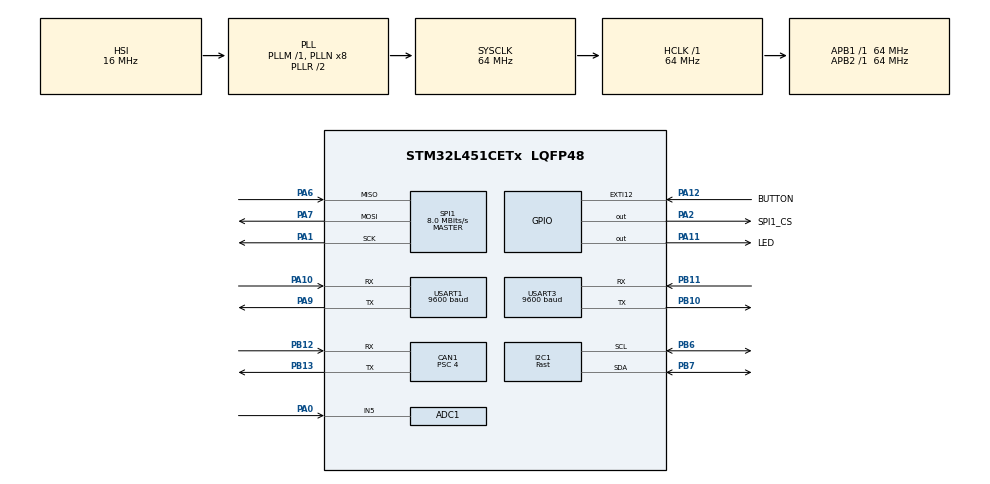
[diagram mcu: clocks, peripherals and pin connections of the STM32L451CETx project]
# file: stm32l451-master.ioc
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ADC1.Channel-0\#ChannelRegularConversion=ADC_CHANNEL_5
ADC1.ContinuousConvMode=ENABLE
ADC1.NbrOfConversionFlag=1
ADC1.OffsetNumber-0\#ChannelRegularConversion=ADC_OFFSET_NONE
ADC1.Rank-0\#ChannelRegularConversion=1
ADC1.SamplingTime-0\#ChannelRegularConversion=ADC_SAMPLETIME_2CYCLES_5
ADC1.master=1
CAN1.ABOM=ENABLE
CAN1.BS1=CAN_BS1_16TQ
CAN1.BS2=CAN_BS2_3TQ
CAN1.CalculateBaudRate=800000
CAN1.CalculateTimeBit=1250
CAN1.CalculateTimeQuantum=62.5
CAN1.NART=ENABLE
CAN1.Prescaler=4
CAN1.TXFP=ENABLE
FREERTOS.Tasks01=periodicTask,24,2048,StartPeriodicTask,Default,NULL,Static,periodicTaskBuffer,periodicTaskControlBlock
I2C1.I2C_Speed_Mode=I2C_Fast
I2C1.Timing=0x00C12166
IWDG.Prescaler=IWDG_PRESCALER_256
Mcu.Family=STM32L4
Mcu.Name=STM32L451CETx
Mcu.Package=LQFP48
NVIC.ADC1_IRQn=true\:5\:0\:false\:false\:true\:true\:true\:true\:true
NVIC.CAN1_RX0_IRQn=true\:5\:0\:false\:false\:true\:true\:true\:true\:true
NVIC.CAN1_RX1_IRQn=true\:5\:0\:false\:false\:true\:true\:true\:true\:true
NVIC.CAN1_SCE_IRQn=true\:5\:0\:false\:false\:true\:true\:true\:true\:true
NVIC.CAN1_TX_IRQn=true\:5\:0\:false\:false\:true\:true\:true\:true\:true
NVIC.EXTI15_10_IRQn=true\:5\:0\:false\:false\:true\:false\:true\:true\:true
NVIC.I2C1_ER_IRQn=true\:5\:0\:false\:false\:true\:true\:true\:true\:true
NVIC.I2C1_EV_IRQn=true\:5\:0\:false\:false\:true\:true\:true\:true\:true
NVIC.PriorityGroup=NVIC_PRIORITYGROUP_4
NVIC.RNG_IRQn=true\:5\:0\:false\:false\:true\:true\:true\:true\:true
NVIC.SPI1_IRQn=true\:5\:0\:false\:false\:true\:true\:true\:true\:true
NVIC.TIM1_UP_TIM16_IRQn=true\:15\:0\:false\:false\:true\:false\:false\:true\:true
NVIC.TimeBase=TIM1_UP_TIM16_IRQn
NVIC.TimeBaseIP=TIM16
NVIC.USART1_IRQn=true\:5\:0\:false\:false\:true\:true\:true\:true\:true
PA0.Signal=ADCx_IN5
PA1.Mode=Full_Duplex_Master
PA1.Signal=SPI1_SCK
PA10.Mode=Asynchronous
PA10.Signal=USART1_RX
PA11.GPIO_Label=LED
PA11.Signal=GPIO_Output
PA12.GPIO_Label=BUTTON
PA12.Signal=GPXTI12
PA13\ (JTMS/SWDIO).Mode=Serial_Wire
PA13\ (JTMS/SWDIO).Signal=SYS_JTMS-SWDIO
PA14\ (JTCK/SWCLK).Mode=Serial_Wire
PA14\ (JTCK/SWCLK).Signal=SYS_JTCK-SWCLK
PA2.GPIO_Label=SPI1_CS
PA2.GPIO_Speed=GPIO_SPEED_FREQ_HIGH
PA2.Signal=GPIO_Output
PA6.Mode=Full_Duplex_Master
PA6.Signal=SPI1_MISO
PA7.Mode=Full_Duplex_Master
PA7.Signal=SPI1_MOSI
PA9.Mode=Asynchronous
PA9.Signal=USART1_TX
PB10.Mode=Asynchronous
PB10.Signal=USART3_TX
PB11.Mode=Asynchronous
PB11.Signal=USART3_RX
PB12.Mode=CAN_Activate
PB12.Signal=CAN1_RX
PB13.Mode=CAN_Activate
PB13.Signal=CAN1_TX
PB6.Mode=I2C
PB6.Signal=I2C1_SCL
PB7.Mode=I2C
PB7.Signal=I2C1_SDA
ProjectManager.HeapSize=0x400
ProjectManager.StackSize=0x800
ProjectManager.TargetToolchain=CMake
RCC.ADCFreq_Value=64000000
RCC.AHBFreq_Value=64000000
RCC.APB1Freq_Value=64000000
RCC.APB1TimFreq_Value=64000000
RCC.APB2Freq_Value=64000000
RCC.APB2TimFreq_Value=64000000
RCC.CortexFreq_Value=64000000
RCC.HCLKFreq_Value=64000000
RCC.HSE_VALUE=8000000
RCC.HSI48_VALUE=48000000
RCC.HSI_VALUE=16000000
RCC.LSE_VALUE=32768
RCC.MSI_VALUE=4000000
RCC.PLLSAI1Q=RCC_PLLQ_DIV4
RCC.PLLSourceVirtual=RCC_PLLSOURCE_HSI
RCC.SYSCLKFreq_VALUE=64000000
RCC.SYSCLKSource=RCC_SYSCLKSOURCE_PLLCLK
RCC.VCOOutputFreq_Value=128000000
SH.ADCx_IN5.0=ADC1_IN5,IN5-Single-Ended
SPI1.BaudRatePrescaler=SPI_BAUDRATEPRESCALER_8
SPI1.CalculateBaudRate=8.0 MBits/s
SPI1.DataSize=SPI_DATASIZE_8BIT
SPI1.Direction=SPI_DIRECTION_2LINES
SPI1.Mode=SPI_MODE_MASTER
SPI1.VirtualType=VM_MASTER
USART1.BaudRate=9600
USART1.VirtualMode-Asynchronous=VM_ASYNC
USART3.BaudRate=9600
USART3.VirtualMode-Asynchronous=VM_ASYNC
VP_FREERTOS_VS_CMSIS_V2.Mode=CMSIS_V2
VP_IWDG_VS_IWDG.Mode=IWDG_Activate
VP_RNG_VS_RNG.Mode=RNG_Activate
VP_SYS_VS_tim16.Mode=TIM16
board=custom

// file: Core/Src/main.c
/* USER CODE BEGIN Header */
/**
  ******************************************************************************
  * @file           : main.c
  * @brief          : Main program body
  ******************************************************************************
  * @attention
  *
  * Copyright (c) 2026 STMicroelectronics.
  * All rights reserved.
  *
  * This software is licensed under terms that can be found in the LICENSE file
  * in the root directory of this software component.
  * If no LICENSE file comes with this software, it is provided AS-IS.
  *
  ******************************************************************************
  */
/* USER CODE END Header */
#include "main.h"
#include "cmsis_os.h"
#include "adc.h"
#include "can.h"
#include "i2c.h"
#include "iwdg.h"
#include "rng.h"
#include "spi.h"
#include "usart.h"
#include "gpio.h"

/* USER CODE BEGIN Includes */
#include "bsp.h"
#include "logging.h"
/* USER CODE END Includes */

void SystemClock_Config(void);
void PeriphCommonClock_Config(void);
void MX_FREERTOS_Init(void);

int main(void)
{

  /* MCU Configuration--------------------------------------------------------*/

  /* Reset of all peripherals, Initializes the Flash interface and the Systick. */
  HAL_Init();

  /* Configure the system clock */
  SystemClock_Config();

  /* Configure the peripherals common clocks */
  PeriphCommonClock_Config();

  /* Initialize all configured peripherals */
  MX_GPIO_Init();
  MX_RNG_Init();
  MX_USART1_UART_Init();
  MX_SPI1_Init();
  MX_I2C1_Init();
  MX_CAN1_Init();
  MX_IWDG_Init();
  MX_ADC1_Init();
  MX_USART3_UART_Init();
  /* USER CODE BEGIN 2 */
  board_init();
  /* USER CODE END 2 */

  /* Init scheduler */
  osKernelInitialize();  /* Call init function for freertos objects (in cmsis_os2.c) */
  MX_FREERTOS_Init();

  /* Start scheduler */
  osKernelStart();

  /* We should never get here as control is now taken by the scheduler */

  /* Infinite loop */
  while (1)
  {

  }
}

void SystemClock_Config(void)
{
  RCC_OscInitTypeDef RCC_OscInitStruct = {0};
  RCC_ClkInitTypeDef RCC_ClkInitStruct = {0};

  /** Configure the main internal regulator output voltage
  */
  if (HAL_PWREx_ControlVoltageScaling(PWR_REGULATOR_VOLTAGE_SCALE1) != HAL_OK)
  {
    Error_Handler();
  }

  /** Initializes the RCC Oscillators according to the specified parameters
  * in the RCC_OscInitTypeDef structure.
  */
  RCC_OscInitStruct.OscillatorType = RCC_OSCILLATORTYPE_HSI|RCC_OSCILLATORTYPE_LSI;
  RCC_OscInitStruct.HSIState = RCC_HSI_ON;
  RCC_OscInitStruct.HSICalibrationValue = 64;
  RCC_OscInitStruct.LSIState = RCC_LSI_ON;
  RCC_OscInitStruct.PLL.PLLState = RCC_PLL_ON;
  RCC_OscInitStruct.PLL.PLLSource = RCC_PLLSOURCE_HSI;
  RCC_OscInitStruct.PLL.PLLM = 1;
  RCC_OscInitStruct.PLL.PLLN = 8;
  RCC_OscInitStruct.PLL.PLLP = RCC_PLLP_DIV7;
  RCC_OscInitStruct.PLL.PLLQ = RCC_PLLQ_DIV2;
  RCC_OscInitStruct.PLL.PLLR = RCC_PLLR_DIV2;
  if (HAL_RCC_OscConfig(&RCC_OscInitStruct) != HAL_OK)
  {
    Error_Handler();
  }

  /** Initializes the CPU, AHB and APB buses clocks
  */
  RCC_ClkInitStruct.ClockType = RCC_CLOCKTYPE_HCLK|RCC_CLOCKTYPE_SYSCLK
                              |RCC_CLOCKTYPE_PCLK1|RCC_CLOCKTYPE_PCLK2;
  RCC_ClkInitStruct.SYSCLKSource = RCC_SYSCLKSOURCE_PLLCLK;
  RCC_ClkInitStruct.AHBCLKDivider = RCC_SYSCLK_DIV1;
  RCC_ClkInitStruct.APB1CLKDivider = RCC_HCLK_DIV1;
  RCC_ClkInitStruct.APB2CLKDivider = RCC_HCLK_DIV1;

  if (HAL_RCC_ClockConfig(&RCC_ClkInitStruct, FLASH_LATENCY_3) != HAL_OK)
  {
    Error_Handler();
  }
}

void PeriphCommonClock_Config(void)
{
  RCC_PeriphCLKInitTypeDef PeriphClkInit = {0};

  /** Initializes the peripherals clock
  */
  PeriphClkInit.PeriphClockSelection = RCC_PERIPHCLK_RNG|RCC_PERIPHCLK_ADC;
  PeriphClkInit.AdcClockSelection = RCC_ADCCLKSOURCE_PLLSAI1;
  PeriphClkInit.RngClockSelection = RCC_RNGCLKSOURCE_PLLSAI1;
  PeriphClkInit.PLLSAI1.PLLSAI1Source = RCC_PLLSOURCE_HSI;
  PeriphClkInit.PLLSAI1.PLLSAI1M = 1;
  PeriphClkInit.PLLSAI1.PLLSAI1N = 8;
  PeriphClkInit.PLLSAI1.PLLSAI1P = RCC_PLLP_DIV7;
  PeriphClkInit.PLLSAI1.PLLSAI1Q = RCC_PLLQ_DIV4;
  PeriphClkInit.PLLSAI1.PLLSAI1R = RCC_PLLR_DIV2;
  PeriphClkInit.PLLSAI1.PLLSAI1ClockOut = RCC_PLLSAI1_48M2CLK|RCC_PLLSAI1_ADC1CLK;
  if (HAL_RCCEx_PeriphCLKConfig(&PeriphClkInit) != HAL_OK)
  {
    Error_Handler();
  }
}

void HAL_TIM_PeriodElapsedCallback(TIM_HandleTypeDef *htim)
{
  if (htim->Instance == TIM16)
  {
    HAL_IncTick();
  }
}

void Error_Handler(void)
{
  /* USER CODE BEGIN Error_Handler_Debug */
#ifdef RENODE_BUILD
    log_debug("Error_Handler() called\n\r");
    return;
#endif
  /* User can add his own implementation to report the HAL error return state */
  __disable_irq();
  while (1)
  {
  }
  /* USER CODE END Error_Handler_Debug */
}

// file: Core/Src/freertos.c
/* USER CODE BEGIN Header */
/**
  ******************************************************************************
  * File Name          : freertos.c
  * Description        : Code for freertos applications
  ******************************************************************************
  * @attention
  *
  * Copyright (c) 2026 STMicroelectronics.
  * All rights reserved.
  *
  * This software is licensed under terms that can be found in the LICENSE file
  * in the root directory of this software component.
  * If no LICENSE file comes with this software, it is provided AS-IS.
  *
  ******************************************************************************
  */
/* USER CODE END Header */

#include "FreeRTOS.h"
#include "task.h"
#include "main.h"
#include "cmsis_os.h"

/* USER CODE BEGIN Includes */
#include "bsp.h"
#ifdef USE_CSP_OVER_CANARD
#include "libcsp2_handlers.h"
#else
#include "libcanard_handlers.h"
#endif
/* USER CODE END Includes */

typedef StaticTask_t osStaticThreadDef_t;

/* Definitions for periodicTask */
osThreadId_t periodicTaskHandle;
uint32_t periodicTaskBuffer[ 2048 ];
osStaticThreadDef_t periodicTaskControlBlock;
const osThreadAttr_t periodicTask_attributes = {
  .name = "periodicTask",
  .cb_mem = &periodicTaskControlBlock,
  .cb_size = sizeof(periodicTaskControlBlock),
  .stack_mem = &periodicTaskBuffer[0],
  .stack_size = sizeof(periodicTaskBuffer),
  .priority = (osPriority_t) osPriorityNormal,
};

void StartPeriodicTask(void *argument);

void MX_FREERTOS_Init(void); /* (MISRA C 2004 rule 8.1) */

void MX_FREERTOS_Init(void) {

  /* Create the thread(s) */
  /* creation of periodicTask */
  periodicTaskHandle = osThreadNew(StartPeriodicTask, NULL, &periodicTask_attributes);

  /* USER CODE BEGIN RTOS_THREADS */
#ifndef ENABLE_XMODEM
#ifdef USE_CSP_OVER_CANARD
  libcspv2_task_start(NULL);
#else
  libcanard_task_start(NULL);
#endif
#endif
  /* USER CODE END RTOS_THREADS */

}

void StartPeriodicTask(void *argument)
{
  /* USER CODE BEGIN StartPeriodicTask */
#ifdef ENABLE_XMODEM
  // start xmodem thread here
  xmodem_task(argument);
#else // ENABLE_XMODEM
  board_periodic_task(argument);
#endif // ENABLE_XMODEM
  /* USER CODE END StartPeriodicTask */
}
